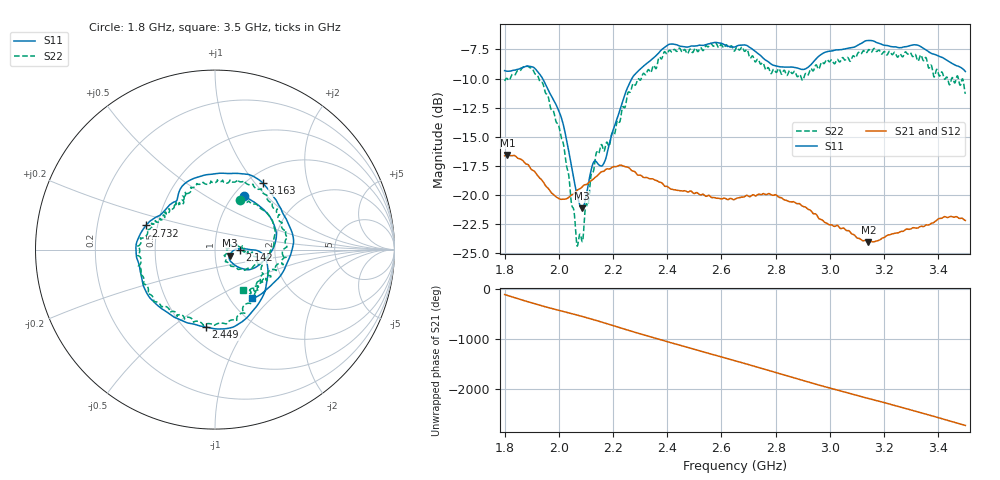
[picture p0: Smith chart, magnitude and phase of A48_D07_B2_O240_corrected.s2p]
! Created with skrf 1.9.0 (http://scikit-rf.org).
# Hz S RI R 50.0
!freq ReS11 ImS11 ReS21 ImS21 ReS12 ImS12 ReS22 ImS22
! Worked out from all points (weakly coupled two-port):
!   1601 points, 1.8 GHz to 3.5 GHz, reference 50 ohm
!   highest |S21| = -16.54 dB at 1.811 GHz (marker M1); lowest = -24.0 dB at 3.142 GHz (marker M2)
!   lowest |S11| = -21.1 dB at 2.085 GHz (marker M3), VSWR 1.19, Z = 58.7 - j3.98 ohm
!   |S11| at or under -10 dB: 1.94 GHz to 2.269 GHz (329.1 MHz wide, 15.6 % of centre)
!   |S22| runs from -24.4 to -7.0 dB; largest |S21 - S12| = 0.0026
!   S11 on the Smith chart (normalised r, x): 1.8 GHz: 1.11, +0.76; 2.142 GHz: 1.32, -0.01; 2.449 GHz: 0.63, -0.67; 2.732 GHz: 0.43, +0.14; 3.163 GHz: 1.17, +1.10; 3.5 GHz: 1.26, -0.77
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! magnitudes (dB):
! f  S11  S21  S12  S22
! 1.8 GHz  -9.3  -16.6  -16.6  -10.2
! 1.811 GHz  -9.4  -16.5  -16.6  -10.0
! 1.883 GHz  -9.0  -17.4  -17.4  -8.9
! 1.941 GHz  -10.0  -18.8  -18.8  -10.4
! 2.01 GHz  -13.4  -20.4  -20.3  -15.2
! 2.066 GHz  -19.8  -19.6  -19.6  -24.1
! 2.084 GHz  -21.1  -19.4  -19.3  -23.8
! 2.085 GHz  -21.1  -19.3  -19.3  -23.9
! 2.124 GHz  -17.4  -18.7  -18.7  -18.0
! 2.142 GHz  -17.2  -18.3  -18.3  -16.3
! 2.169 GHz  -17.2  -17.9  -17.9  -16.1
! 2.269 GHz  -10.0  -17.9  -17.8  -10.8
! 2.367 GHz  -7.8  -18.8  -18.8  -8.3
! 2.449 GHz  -7.2  -19.6  -19.6  -7.5
! 2.65 GHz  -7.3  -20.4  -20.3  -7.6
! 2.732 GHz  -7.8  -20.0  -20.0  -8.4
! 2.934 GHz  -8.7  -21.4  -21.4  -9.2
! 3.142 GHz  -6.7  -24.0  -23.9  -7.5
! 3.163 GHz  -6.8  -24.0  -24.0  -7.4
! 3.217 GHz  -7.2  -23.4  -23.4  -7.7
! 3.343 GHz  -7.4  -22.7  -22.7  -8.4
! 3.5 GHz  -9.4  -22.2  -22.2  -11.3
